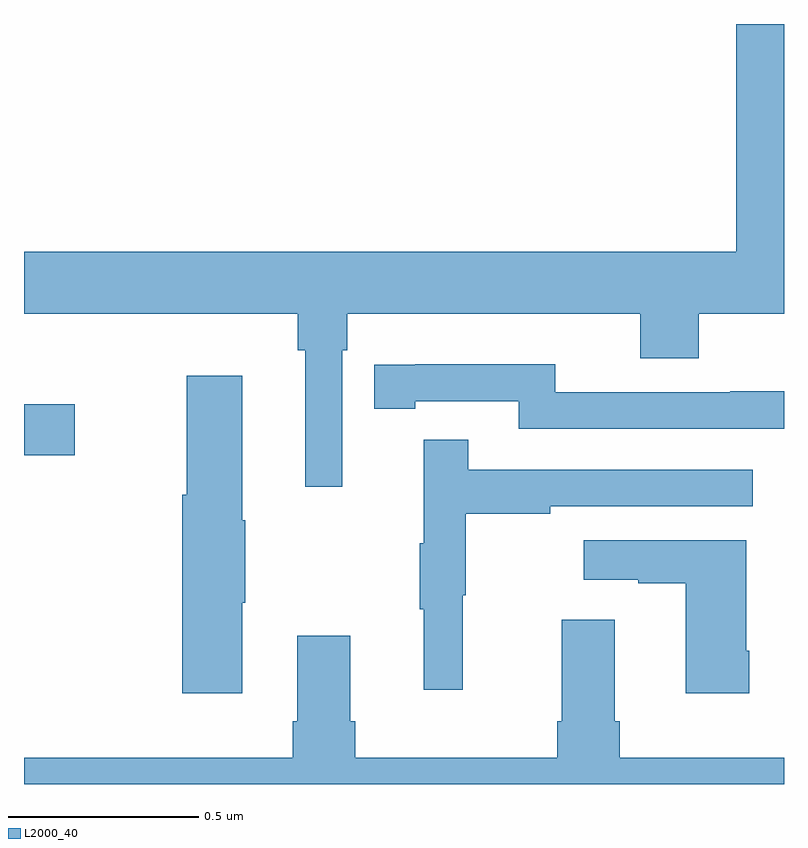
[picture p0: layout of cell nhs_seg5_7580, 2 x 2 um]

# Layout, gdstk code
import gdstk
lib = gdstk.Library(unit=1e-6, precision=1e-09)
def R(c, l, rs):  # rectangles x0, y0, x1, y1
    for r in rs: c.add(gdstk.rectangle(r[:2], r[2:], *l))
def P(c, l, *ps):  # polygons
    for p in ps: c.add(gdstk.Polygon(p, *l))
L2000_40 = (2000, 40)

nhs_seg5_7580 = lib.new_cell('nhs_seg5_7580')
R(nhs_seg5_7580, L2000_40, [(210,913.664,210.133,913.798)])
P(nhs_seg5_7580, L2000_40, [(210.837,913.94),(210.851,913.94),(210.851,914.036),(211.622,914.036),(211.622,913.919),(211.775,913.919),(211.775,914.036),(212,914.036),(212,914.799),(211.874,914.799),(211.874,914.2),(210,914.2),(210,914.036),(210.721,914.036),(210.721,913.94),(210.74,913.94),(210.74,913.581),(210.837,913.581)],
  [(212,913.832),(211.858,913.832),(211.858,913.83),(211.398,913.83),(211.398,913.903),(211.03,913.903),(211.03,913.902),(210.922,913.902),(210.922,913.786),(211.03,913.786),(211.03,913.806),(211.302,913.806),(211.302,913.734),(212,913.734)],
  [(210.574,913.276),(210.582,913.276),(210.582,913.493),(210.574,913.493),(210.574,913.873),(210.428,913.873),(210.428,913.56),(210.416,913.56),(210.416,913.038),(210.574,913.038)],
  [(211.154,913.296),(211.162,913.296),(211.162,913.51),(211.385,913.51),(211.385,913.53),(211.918,913.53),(211.918,913.626),(211.169,913.626),(211.169,913.705),(211.052,913.705),(211.052,913.433),(211.041,913.433),(211.041,913.259),(211.052,913.259),(211.052,913.047),(211.154,913.047)],
  [(211.908,913.15),(211.9,913.15),(211.9,913.441),(211.473,913.441),(211.473,913.337),(211.616,913.337),(211.616,913.327),(211.742,913.327),(211.742,913.038),(211.908,913.038)],
  [(212,912.868),(211.568,912.868),(211.568,912.964),(211.555,912.964),(211.555,913.231),(211.415,913.231),(211.415,912.964),(211.403,912.964),(211.403,912.868),(210.872,912.868),(210.872,912.964),(210.859,912.964),(210.859,913.189),(210.719,913.189),(210.719,912.964),(210.707,912.964),(210.707,912.868),(210,912.868),(210,912.799),(212,912.799)])

lib.write_gds('nhs_seg5_7580.gds')
